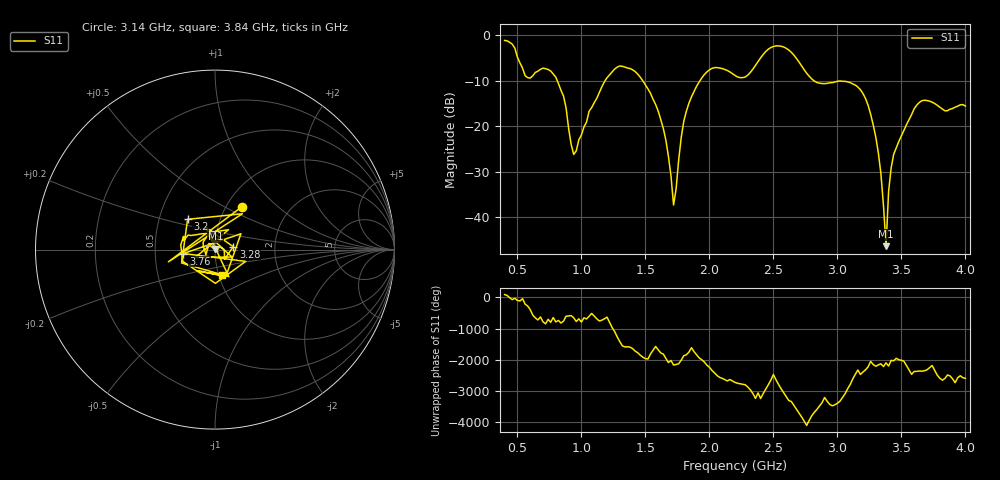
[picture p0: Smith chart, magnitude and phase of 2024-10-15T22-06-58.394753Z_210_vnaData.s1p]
! Created with skrf (http://scikit-rf.org).
# Hz S RI R 50.0
!freq ReS11 ImS11
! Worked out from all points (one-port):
!   181 points, 400 MHz to 4 GHz, reference 50 ohm
!   lowest |S11| = -46.3 dB at 3.38 GHz (marker M1), VSWR 1.01, Z = 50.2 + j0.438 ohm
!   |S11| at or under -10 dB: 810.8 MHz to 1.186 GHz (374.8 MHz wide, 37.5 % of centre); 1.478 GHz to 1.927 GHz (449 MHz wide, 26.4 % of centre); 2.815 GHz to end of sweep
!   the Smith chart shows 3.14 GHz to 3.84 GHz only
!   S11 on the Smith chart (normalised r, x): 3.14 GHz: 1.18, +0.61; 3.2 GHz: 0.70, +0.25; 3.28 GHz: 1.23, +0.04; 3.76 GHz: 0.70, -0.03; 3.84 GHz: 1.03, -0.30
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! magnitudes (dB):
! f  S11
! 400 MHz  -1.2
! 560 MHz  -8.9
! 740 MHz  -7.6
! 860 MHz  -13.4
! 940 MHz  -26.2
! 1.3 GHz  -6.8
! 1.58 GHz  -15.2
! 1.66 GHz  -23.1
! 1.72 GHz  -37.3
! 1.76 GHz  -27.4
! 1.82 GHz  -16.7
! 1.94 GHz  -9.4
! 2.2 GHz  -8.9
! 2.5 GHz  -2.5
! 2.66 GHz  -4.4
! 2.84 GHz  -10.4
! 3.1 GHz  -10.4
! 3.14 GHz  -11.0
! 3.2 GHz  -12.9
! 3.28 GHz  -19.7
! 3.34 GHz  -30.5
! 3.38 GHz  -46.3
! 3.4 GHz  -34.4
! 3.42 GHz  -29.1
! 3.56 GHz  -18.5
! 3.76 GHz  -15.0
! 3.84 GHz  -16.6
! 4 GHz  -15.6
